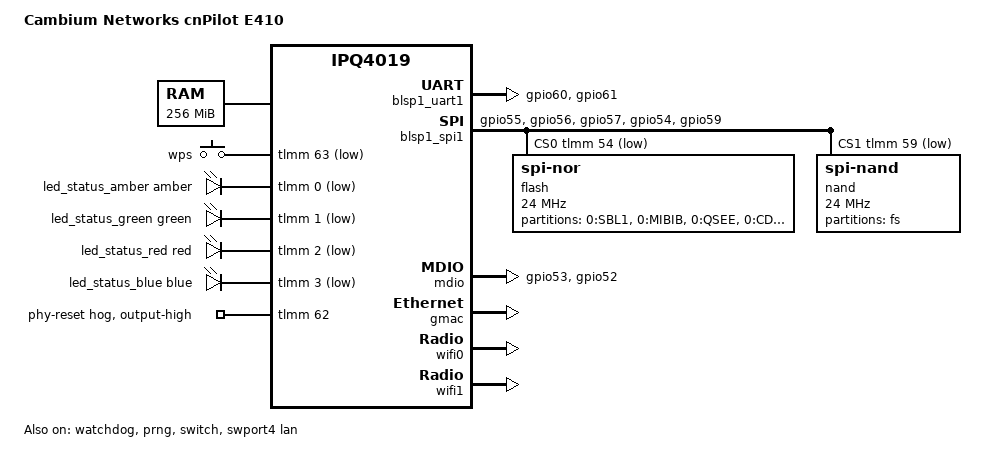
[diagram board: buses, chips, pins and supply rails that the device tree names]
// SPDX-License-Identifier: GPL-2.0-or-later OR MIT

#include "qcom-ipq4019.dtsi"
#include <dt-bindings/gpio/gpio.h>
#include <dt-bindings/input/input.h>
#include <dt-bindings/leds/common.h>
#include <dt-bindings/soc/qcom,tcsr.h>

/ {
	model = "Cambium Networks cnPilot E410";
	compatible = "cambium,e410", "qcom,ipq4019";

	aliases {
		ethernet0 = &swport4;
		label-mac-device = &swport4;
		led-boot = &led_status_amber;
		led-failsafe = &led_status_red;
		led-running = &led_status_green;
		led-upgrade = &led_status_amber;
	};

	chosen {
		bootargs-append = " clk_ignore_unused";
		stdout-path = &blsp1_uart1;
	};

	memory {
		device_type = "memory";
		reg = <0x80000000 0x10000000>;
	};

	reserved-memory {
		ranges;

		rsvd1@87000000 {
			reg = <0x87000000 0x500000>;
			no-map;
		};

		wifi_dump@87500000 {
			reg = <0x87500000 0x600000>;
			no-map;
		};

		rsvd2@87b00000 {
			/* smem and trustzone reserve the final 2 MiB separately. */
			reg = <0x87b00000 0x300000>;
			no-map;
		};
	};

	soc {
		counter@4a1000 {
			compatible = "qcom,qca-gcnt";
			reg = <0x4a1000 0x4>;
		};

		tcsr@1949000 {
			compatible = "qcom,tcsr";
			reg = <0x1949000 0x100>;
			qcom,wifi_glb_cfg = <TCSR_WIFI_GLB_CFG>;
		};

		ess_tcsr@1953000 {
			compatible = "qcom,tcsr";
			reg = <0x1953000 0x1000>;
			qcom,ess-interface-select = <TCSR_ESS_PSGMII>;
		};

		tcsr@1957000 {
			compatible = "qcom,tcsr";
			reg = <0x1957000 0x100>;
			qcom,wifi_noc_memtype_m0_m2 = <TCSR_WIFI_NOC_MEMTYPE_M0_M2>;
		};
	};

	keys {
		compatible = "gpio-keys";

		wps {
			label = "wps";
			gpios = <&tlmm 63 GPIO_ACTIVE_LOW>;
			linux,code = <KEY_WPS_BUTTON>;
		};
	};

	leds {
		compatible = "gpio-leds";

		led_status_amber: led-0 {
			function = LED_FUNCTION_STATUS;
			color = <LED_COLOR_ID_AMBER>;
			gpios = <&tlmm 0 GPIO_ACTIVE_LOW>;
		};

		led_status_green: led-1 {
			function = LED_FUNCTION_STATUS;
			color = <LED_COLOR_ID_GREEN>;
			gpios = <&tlmm 1 GPIO_ACTIVE_LOW>;
		};

		led_status_red: led-2 {
			function = LED_FUNCTION_STATUS;
			color = <LED_COLOR_ID_RED>;
			gpios = <&tlmm 2 GPIO_ACTIVE_LOW>;
		};

		led_status_blue: led-3 {
			function = LED_FUNCTION_STATUS;
			color = <LED_COLOR_ID_BLUE>;
			gpios = <&tlmm 3 GPIO_ACTIVE_LOW>;
		};
	};
};

&watchdog {
	status = "okay";
};

&prng {
	status = "okay";
};

&blsp_dma {
	status = "okay";
};

&blsp1_uart1 {
	status = "okay";
	pinctrl-0 = <&serial_pins>;
	pinctrl-names = "default";
};

&blsp1_spi1 {
	status = "okay";
	pinctrl-0 = <&spi_pins>;
	pinctrl-names = "default";
	cs-gpios = <&tlmm 54 GPIO_ACTIVE_LOW>,
		   <&tlmm 59 GPIO_ACTIVE_LOW>;

	flash@0 {
		compatible = "jedec,spi-nor";
		reg = <0>;
		spi-max-frequency = <24000000>;

		partitions {
			compatible = "fixed-partitions";
			#address-cells = <1>;
			#size-cells = <1>;

			partition@0 {
				label = "0:SBL1";
				reg = <0x000000 0x040000>;
				read-only;
			};

			partition@40000 {
				label = "0:MIBIB";
				reg = <0x040000 0x020000>;
				read-only;
			};

			partition@60000 {
				label = "0:QSEE";
				reg = <0x060000 0x060000>;
				read-only;
			};

			partition@c0000 {
				label = "0:CDT";
				reg = <0x0c0000 0x010000>;
				read-only;
			};

			partition@d0000 {
				label = "0:DDRPARAMS";
				reg = <0x0d0000 0x010000>;
				read-only;
			};

			partition@e0000 {
				label = "0:APPSBLENV";
				reg = <0x0e0000 0x010000>;
			};

			partition@f0000 {
				label = "0:APPSBL";
				reg = <0x0f0000 0x080000>;
				read-only;
			};

			partition@170000 {
				label = "0:ART";
				reg = <0x170000 0x010000>;
				read-only;

				nvmem-layout {
					compatible = "fixed-layout";
					#address-cells = <1>;
					#size-cells = <1>;

					precal_art_1000: precal@1000 {
						reg = <0x1000 0x2f20>;
					};

					precal_art_5000: precal@5000 {
						reg = <0x5000 0x2f20>;
					};
				};
			};

			partition@180000 {
				label = "mfginfo";
				reg = <0x180000 0x010000>;
				read-only;
			};

			partition@190000 {
				label = "crashLog";
				reg = <0x190000 0x010000>;
				read-only;
			};

			partition@1a0000 {
				label = "config";
				reg = <0x1a0000 0x010000>;
				read-only;
			};
		};
	};

	nand@1 {
		compatible = "spi-nand";
		reg = <1>;
		spi-max-frequency = <24000000>;

		partitions {
			compatible = "fixed-partitions";
			#address-cells = <1>;
			#size-cells = <1>;

			/* Preserve the factory A/B UBI layout and volume names. */
			fs_partition: partition@0 {
				label = "fs";
				reg = <0x0000000 0x8000000>;
			};
		};
	};
};

&tlmm {
	mdio_pins: mdio_pinmux {
		mux_mdio {
			pins = "gpio53";
			function = "mdio";
			bias-pull-up;
		};

		mux_mdc {
			pins = "gpio52";
			function = "mdc";
			bias-pull-up;
		};
	};

	serial_pins: serial_pinmux {
		mux {
			pins = "gpio60", "gpio61";
			function = "blsp_uart0";
			bias-disable;
		};
	};

	spi_pins: spi_pinmux {
		mux_spi {
			function = "blsp_spi0";
			pins = "gpio55", "gpio56", "gpio57";
			drive-strength = <12>;
			bias-disable;
		};

		mux_cs {
			function = "gpio";
			pins = "gpio54", "gpio59";
			drive-strength = <2>;
			bias-disable;
			output-high;
		};
	};

	phy_reset {
		gpio-hog;
		line-name = "phy-reset";
		gpios = <62 GPIO_ACTIVE_HIGH>;
		output-high;
	};
};

&mdio {
	status = "okay";
	pinctrl-0 = <&mdio_pins>;
	pinctrl-names = "default";
};

&gmac {
	status = "okay";
};

&switch {
	status = "okay";
};

&swport4 {
	status = "okay";
	label = "lan";
};

&wifi0 {
	status = "okay";
	nvmem-cell-names = "pre-calibration";
	nvmem-cells = <&precal_art_1000>;
};

&wifi1 {
	status = "okay";
	nvmem-cell-names = "pre-calibration";
	nvmem-cells = <&precal_art_5000>;
};
